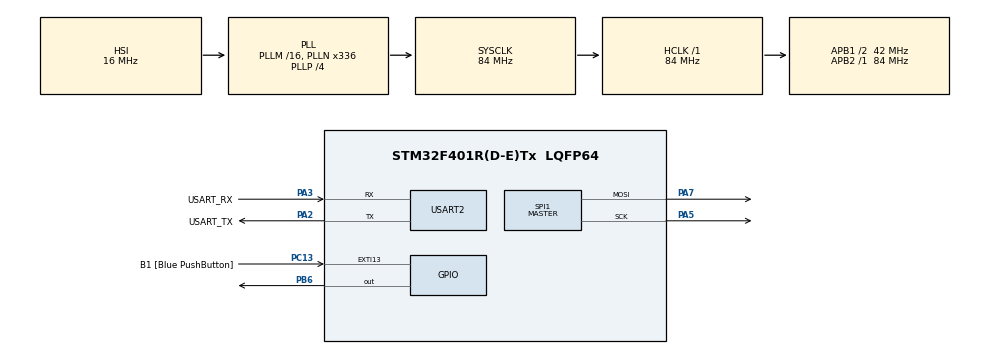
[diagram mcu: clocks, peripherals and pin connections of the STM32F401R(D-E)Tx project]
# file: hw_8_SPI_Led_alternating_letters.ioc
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Dma.Request0=SPI1_TX
Dma.SPI1_TX.0.Direction=DMA_MEMORY_TO_PERIPH
Dma.SPI1_TX.0.FIFOMode=DMA_FIFOMODE_DISABLE
Dma.SPI1_TX.0.Instance=DMA2_Stream3
Dma.SPI1_TX.0.MemDataAlignment=DMA_MDATAALIGN_BYTE
Dma.SPI1_TX.0.MemInc=DMA_MINC_ENABLE
Dma.SPI1_TX.0.Mode=DMA_NORMAL
Dma.SPI1_TX.0.PeriphDataAlignment=DMA_PDATAALIGN_BYTE
Dma.SPI1_TX.0.PeriphInc=DMA_PINC_DISABLE
Dma.SPI1_TX.0.Priority=DMA_PRIORITY_HIGH
Mcu.Family=STM32F4
Mcu.Name=STM32F401R(D-E)Tx
Mcu.Package=LQFP64
NVIC.DMA2_Stream3_IRQn=true\:0\:0\:false\:false\:true\:false\:true\:true
NVIC.PriorityGroup=NVIC_PRIORITYGROUP_0
NVIC.SPI1_IRQn=true\:0\:0\:false\:false\:true\:true\:true\:true
NVIC.TIM1_UP_TIM10_IRQn=true\:0\:0\:false\:false\:true\:true\:true\:true
PA13.GPIO_Label=TMS
PA13.Mode=Serial_Wire
PA13.Signal=SYS_JTMS-SWDIO
PA14.GPIO_Label=TCK
PA14.Mode=Serial_Wire
PA14.Signal=SYS_JTCK-SWCLK
PA2.GPIO_Label=USART_TX
PA2.GPIO_Mode=GPIO_MODE_AF_PP
PA2.GPIO_PuPd=GPIO_NOPULL
PA2.GPIO_Speed=GPIO_SPEED_FREQ_LOW
PA2.Mode=Asynchronous
PA2.Signal=USART2_TX
PA3.GPIO_Label=USART_RX
PA3.GPIO_Mode=GPIO_MODE_AF_PP
PA3.GPIO_PuPd=GPIO_NOPULL
PA3.GPIO_Speed=GPIO_SPEED_FREQ_LOW
PA3.Mode=Asynchronous
PA3.Signal=USART2_RX
PA5.Mode=TX_Only_Simplex_Unidirect_Master
PA5.Signal=SPI1_SCK
PA7.Mode=TX_Only_Simplex_Unidirect_Master
PA7.Signal=SPI1_MOSI
PB3.GPIO_Label=SWO
PB3.Signal=SYS_JTDO-SWO
PB6.Signal=GPIO_Output
PC13-ANTI_TAMP.GPIO_Label=B1 [Blue PushButton]
PC13-ANTI_TAMP.GPIO_ModeDefaultEXTI=GPIO_MODE_IT_FALLING
PC13-ANTI_TAMP.GPIO_PuPd=GPIO_NOPULL
PC13-ANTI_TAMP.Signal=GPXTI13
PC14-OSC32_IN.Mode=LSE-External-Oscillator
PC14-OSC32_IN.Signal=RCC_OSC32_IN
PC15-OSC32_OUT.Mode=LSE-External-Oscillator
PC15-OSC32_OUT.Signal=RCC_OSC32_OUT
PH0\ -\ OSC_IN.Mode=HSE-External-Clock-Source
PH0\ -\ OSC_IN.Signal=RCC_OSC_IN
PH1\ -\ OSC_OUT.Mode=HSE-External-Clock-Source
PH1\ -\ OSC_OUT.Signal=RCC_OSC_OUT
ProjectManager.HeapSize=0x200
ProjectManager.StackSize=0x400
ProjectManager.TargetToolchain=STM32CubeIDE
RCC.48MHZClocksFreq_Value=48000000
RCC.AHBFreq_Value=84000000
RCC.APB1CLKDivider=RCC_HCLK_DIV2
RCC.APB1Freq_Value=42000000
RCC.APB1TimFreq_Value=84000000
RCC.APB2Freq_Value=84000000
RCC.APB2TimFreq_Value=84000000
RCC.CortexFreq_Value=84000000
RCC.HCLKFreq_Value=84000000
RCC.HSE_VALUE=8000000
RCC.HSI_VALUE=16000000
RCC.PLLN=336
RCC.PLLP=RCC_PLLP_DIV4
RCC.PLLQ=7
RCC.SYSCLKFreq_VALUE=84000000
RCC.SYSCLKSource=RCC_SYSCLKSOURCE_PLLCLK
RCC.VCOOutputFreq_Value=336000000
SPI1.BaudRatePrescaler=SPI_BAUDRATEPRESCALER_4
SPI1.Direction=SPI_DIRECTION_2LINES
SPI1.Mode=SPI_MODE_MASTER
SPI1.VirtualType=VM_MASTER
TIM10.Period=4000-1
TIM10.Prescaler=84-1
USART2.VirtualMode=VM_ASYNC
VP_TIM10_VS_ClockSourceINT.Mode=Enable_Timer
board=NUCLEO-F401RE

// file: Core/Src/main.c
/* USER CODE BEGIN Header */
/**
  ******************************************************************************
  * @file           : main.c
  * @brief          : Main program body
  ******************************************************************************
  * @attention
  *
  * Copyright (c) 2023 STMicroelectronics.
  * All rights reserved.
  *
  * This software is licensed under terms that can be found in the LICENSE file
  * in the root directory of this software component.
  * If no LICENSE file comes with this software, it is provided AS-IS.
  *
  ******************************************************************************
  */
/* USER CODE END Header */
#include "main.h"

/* USER CODE BEGIN PD */
# define RCLK_PIN GPIOB, GPIO_PIN_6
# define SYMBOLS_LENGTH 2
/* USER CODE END PD */

SPI_HandleTypeDef hspi1;
DMA_HandleTypeDef hdma_spi1_tx;

TIM_HandleTypeDef htim10;

UART_HandleTypeDef huart2;

/* USER CODE BEGIN PV */
int column_index = 0;

int symbols_index = 0;

uint8_t symbols[SYMBOLS_LENGTH][5][2] = {

	// A
	{
		{31,16},
		{36,8},
		{68,4},
		{36,2},
		{31,1}
	},

	// 6
	{
		{62,16},
		{73,8},
		{73,4},
		{73,2},
		{70,1}
	}

};
/* USER CODE END PV */

void SystemClock_Config(void);
static void MX_GPIO_Init(void);
static void MX_DMA_Init(void);
static void MX_USART2_UART_Init(void);
static void MX_SPI1_Init(void);
static void MX_TIM10_Init(void);

/* USER CODE BEGIN 0 */

void HAL_TIM_PeriodElapsedCallback(TIM_HandleTypeDef *htim) {

	if (htim == &htim10) {

		HAL_SPI_Transmit_DMA(&hspi1, symbols[symbols_index][column_index], 2);

	}

}

void HAL_SPI_TxCpltCallback(SPI_HandleTypeDef *hspi) {

	HAL_GPIO_WritePin(RCLK_PIN, GPIO_PIN_SET);

	if(++column_index > 4) column_index = 0;

	HAL_GPIO_WritePin(RCLK_PIN, GPIO_PIN_RESET);

}
/* USER CODE END 0 */

int main(void)
{

  /* MCU Configuration--------------------------------------------------------*/

  /* Reset of all peripherals, Initializes the Flash interface and the Systick. */
  HAL_Init();

  /* Configure the system clock */
  SystemClock_Config();

  /* Initialize all configured peripherals */
  MX_GPIO_Init();
  MX_DMA_Init();
  MX_USART2_UART_Init();
  MX_SPI1_Init();
  MX_TIM10_Init();
  /* USER CODE BEGIN 2 */
  HAL_TIM_Base_Start_IT(&htim10);
  /* USER CODE END 2 */

  /* Infinite loop */
  while (1)
  {
	  if(++symbols_index > SYMBOLS_LENGTH-1) symbols_index = 0;

	  HAL_Delay(500);
  }
}

void SystemClock_Config(void)
{
  RCC_OscInitTypeDef RCC_OscInitStruct = {0};
  RCC_ClkInitTypeDef RCC_ClkInitStruct = {0};

  /** Configure the main internal regulator output voltage
  */
  __HAL_RCC_PWR_CLK_ENABLE();
  __HAL_PWR_VOLTAGESCALING_CONFIG(PWR_REGULATOR_VOLTAGE_SCALE2);

  /** Initializes the RCC Oscillators according to the specified parameters
  * in the RCC_OscInitTypeDef structure.
  */
  RCC_OscInitStruct.OscillatorType = RCC_OSCILLATORTYPE_HSI;
  RCC_OscInitStruct.HSIState = RCC_HSI_ON;
  RCC_OscInitStruct.HSICalibrationValue = RCC_HSICALIBRATION_DEFAULT;
  RCC_OscInitStruct.PLL.PLLState = RCC_PLL_ON;
  RCC_OscInitStruct.PLL.PLLSource = RCC_PLLSOURCE_HSI;
  RCC_OscInitStruct.PLL.PLLM = 16;
  RCC_OscInitStruct.PLL.PLLN = 336;
  RCC_OscInitStruct.PLL.PLLP = RCC_PLLP_DIV4;
  RCC_OscInitStruct.PLL.PLLQ = 7;
  if (HAL_RCC_OscConfig(&RCC_OscInitStruct) != HAL_OK)
  {
    Error_Handler();
  }

  /** Initializes the CPU, AHB and APB buses clocks
  */
  RCC_ClkInitStruct.ClockType = RCC_CLOCKTYPE_HCLK|RCC_CLOCKTYPE_SYSCLK
                              |RCC_CLOCKTYPE_PCLK1|RCC_CLOCKTYPE_PCLK2;
  RCC_ClkInitStruct.SYSCLKSource = RCC_SYSCLKSOURCE_PLLCLK;
  RCC_ClkInitStruct.AHBCLKDivider = RCC_SYSCLK_DIV1;
  RCC_ClkInitStruct.APB1CLKDivider = RCC_HCLK_DIV2;
  RCC_ClkInitStruct.APB2CLKDivider = RCC_HCLK_DIV1;

  if (HAL_RCC_ClockConfig(&RCC_ClkInitStruct, FLASH_LATENCY_2) != HAL_OK)
  {
    Error_Handler();
  }
}

static void MX_SPI1_Init(void)
{

  /* SPI1 parameter configuration*/
  hspi1.Instance = SPI1;
  hspi1.Init.Mode = SPI_MODE_MASTER;
  hspi1.Init.Direction = SPI_DIRECTION_2LINES;
  hspi1.Init.DataSize = SPI_DATASIZE_8BIT;
  hspi1.Init.CLKPolarity = SPI_POLARITY_LOW;
  hspi1.Init.CLKPhase = SPI_PHASE_1EDGE;
  hspi1.Init.NSS = SPI_NSS_SOFT;
  hspi1.Init.BaudRatePrescaler = SPI_BAUDRATEPRESCALER_4;
  hspi1.Init.FirstBit = SPI_FIRSTBIT_MSB;
  hspi1.Init.TIMode = SPI_TIMODE_DISABLE;
  hspi1.Init.CRCCalculation = SPI_CRCCALCULATION_DISABLE;
  hspi1.Init.CRCPolynomial = 10;
  if (HAL_SPI_Init(&hspi1) != HAL_OK)
  {
    Error_Handler();
  }

}

static void MX_TIM10_Init(void)
{

  htim10.Instance = TIM10;
  htim10.Init.Prescaler = 84-1;
  htim10.Init.CounterMode = TIM_COUNTERMODE_UP;
  htim10.Init.Period = 4000-1;
  htim10.Init.ClockDivision = TIM_CLOCKDIVISION_DIV1;
  htim10.Init.AutoReloadPreload = TIM_AUTORELOAD_PRELOAD_DISABLE;
  if (HAL_TIM_Base_Init(&htim10) != HAL_OK)
  {
    Error_Handler();
  }

}

static void MX_USART2_UART_Init(void)
{

  huart2.Instance = USART2;
  huart2.Init.BaudRate = 115200;
  huart2.Init.WordLength = UART_WORDLENGTH_8B;
  huart2.Init.StopBits = UART_STOPBITS_1;
  huart2.Init.Parity = UART_PARITY_NONE;
  huart2.Init.Mode = UART_MODE_TX_RX;
  huart2.Init.HwFlowCtl = UART_HWCONTROL_NONE;
  huart2.Init.OverSampling = UART_OVERSAMPLING_16;
  if (HAL_UART_Init(&huart2) != HAL_OK)
  {
    Error_Handler();
  }

}

static void MX_DMA_Init(void)
{

  /* DMA controller clock enable */
  __HAL_RCC_DMA2_CLK_ENABLE();

  /* DMA interrupt init */
  /* DMA2_Stream3_IRQn interrupt configuration */
  HAL_NVIC_SetPriority(DMA2_Stream3_IRQn, 0, 0);
  HAL_NVIC_EnableIRQ(DMA2_Stream3_IRQn);

}

static void MX_GPIO_Init(void)
{
  GPIO_InitTypeDef GPIO_InitStruct = {0};

  /* GPIO Ports Clock Enable */
  __HAL_RCC_GPIOC_CLK_ENABLE();
  __HAL_RCC_GPIOH_CLK_ENABLE();
  __HAL_RCC_GPIOA_CLK_ENABLE();
  __HAL_RCC_GPIOB_CLK_ENABLE();

  /*Configure GPIO pin Output Level */
  HAL_GPIO_WritePin(GPIOB, GPIO_PIN_6, GPIO_PIN_RESET);

  /*Configure GPIO pin : B1_Pin */
  GPIO_InitStruct.Pin = B1_Pin;
  GPIO_InitStruct.Mode = GPIO_MODE_IT_FALLING;
  GPIO_InitStruct.Pull = GPIO_NOPULL;
  HAL_GPIO_Init(B1_GPIO_Port, &GPIO_InitStruct);

  /*Configure GPIO pin : PB6 */
  GPIO_InitStruct.Pin = GPIO_PIN_6;
  GPIO_InitStruct.Mode = GPIO_MODE_OUTPUT_PP;
  GPIO_InitStruct.Pull = GPIO_NOPULL;
  GPIO_InitStruct.Speed = GPIO_SPEED_FREQ_LOW;
  HAL_GPIO_Init(GPIOB, &GPIO_InitStruct);

}

void Error_Handler(void)
{
  __disable_irq();
  while (1)
  {
  }
}
